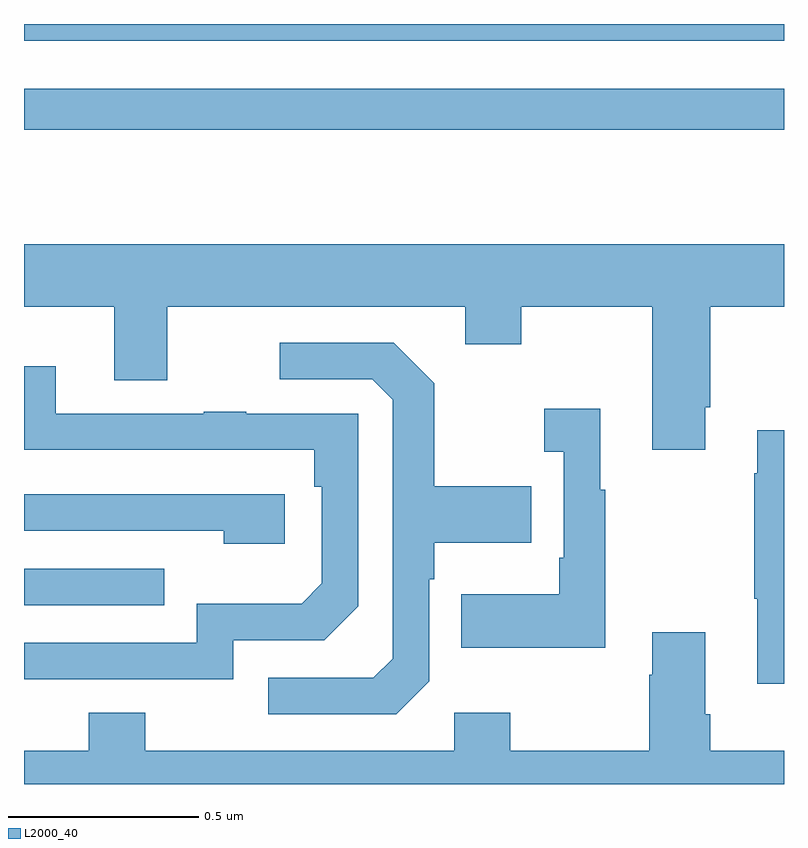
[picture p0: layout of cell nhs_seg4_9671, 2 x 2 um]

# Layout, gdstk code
import gdstk
lib = gdstk.Library(unit=1e-6, precision=1e-09)
def R(c, l, rs):  # rectangles x0, y0, x1, y1
    for r in rs: c.add(gdstk.rectangle(r[:2], r[2:], *l))
def P(c, l, *ps):  # polygons
    for p in ps: c.add(gdstk.Polygon(p, *l))
L2000_40 = (2000, 40)

nhs_seg4_9671 = lib.new_cell('nhs_seg4_9671')
R(nhs_seg4_9671, L2000_40, [(230,793.371,230.369,793.467), (230,794.622,232,794.73), (230,794.856,232,794.9)])
P(nhs_seg4_9671, L2000_40, [(231.793,793.891),(231.806,793.891),(231.806,794.156),(232,794.156),(232,794.32),(230,794.32),(230,794.156),(230.237,794.156),(230.237,793.962),(230.377,793.962),(230.377,794.156),(231.161,794.156),(231.161,794.057),(231.309,794.057),(231.309,794.156),(231.653,794.156),(231.653,793.779),(231.793,793.779)],
  [(231.066,793.17),(231.066,793.439),(231.079,793.439),(231.079,793.535),(231.335,793.535),(231.335,793.683),(231.079,793.683),(231.079,793.955),(230.973,794.061),(230.673,794.061),(230.673,793.965),(230.916,793.965),(230.97,793.911),(230.97,793.23),(230.919,793.179),(230.643,793.179),(230.643,793.083),(230.979,793.083)],
  [(230.55,793.278),(230.79,793.278),(230.88,793.368),(230.88,793.875),(230.585,793.875),(230.585,793.88),(230.473,793.88),(230.473,793.875),(230.083,793.875),(230.083,793.999),(230,793.999),(230,793.78),(230.089,793.78),(230.089,793.779),(230.764,793.779),(230.764,793.682),(230.784,793.682),(230.784,793.428),(230.731,793.375),(230.454,793.375),(230.454,793.272),(230,793.272),(230,793.176),(230.55,793.176)],
  [(231.529,793.675),(231.517,793.675),(231.517,793.888),(231.369,793.888),(231.369,793.775),(231.42,793.775),(231.42,793.495),(231.408,793.495),(231.408,793.399),(231.151,793.399),(231.151,793.259),(231.529,793.259)],
  [(232,793.831),(231.929,793.831),(231.929,793.718),(231.922,793.718),(231.922,793.387),(231.929,793.387),(231.929,793.164),(232,793.164)],
  [(230.686,793.662),(230,793.662),(230,793.566),(230.525,793.566),(230.525,793.532),(230.686,793.532)],
  [(232,792.988),(231.806,792.988),(231.806,793.084),(231.793,793.084),(231.793,793.3),(231.653,793.3),(231.653,793.187),(231.646,793.187),(231.646,792.988),(231.279,792.988),(231.279,793.087),(231.132,793.087),(231.132,792.988),(230.319,792.988),(230.319,793.087),(230.171,793.087),(230.171,792.988),(230,792.988),(230,792.9),(232,792.9)])

lib.write_gds('nhs_seg4_9671.gds')
